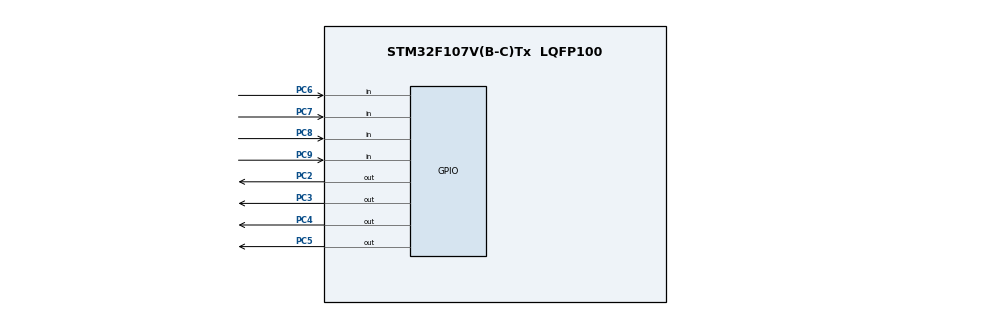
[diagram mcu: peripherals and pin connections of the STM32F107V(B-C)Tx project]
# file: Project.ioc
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Mcu.Family=STM32F1
Mcu.Name=STM32F107V(B-C)Tx
Mcu.Package=LQFP100
NVIC.PriorityGroup=NVIC_PRIORITYGROUP_4
PC2.Signal=GPIO_Output
PC3.Signal=GPIO_Output
PC4.Signal=GPIO_Output
PC5.Signal=GPIO_Output
PC6.Signal=GPIO_Input
PC7.Signal=GPIO_Input
PC8.Signal=GPIO_Input
PC9.Signal=GPIO_Input
ProjectManager.HeapSize=0x200
ProjectManager.StackSize=0x400
ProjectManager.TargetToolchain=MDK-ARM V5
RCC.USBFreq_Value=10666666.666666666
board=Project

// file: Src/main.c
/**
  ******************************************************************************
  * File Name          : main.c
  * Description        : Main program body
  ******************************************************************************
  ** This notice applies to any and all portions of this file
  * that are not between comment pairs USER CODE BEGIN and
  * USER CODE END. Other portions of this file, whether
  * inserted by the user or by software development tools
  * are owned by their respective copyright owners.
  *
  * COPYRIGHT(c) 2017 STMicroelectronics
  *
  * Redistribution and use in source and binary forms, with or without modification,
  * are permitted provided that the following conditions are met:
  *   1. Redistributions of source code must retain the above copyright notice,
  *      this list of conditions and the following disclaimer.
  *   2. Redistributions in binary form must reproduce the above copyright notice,
  *      this list of conditions and the following disclaimer in the documentation
  *      and/or other materials provided with the distribution.
  *   3. Neither the name of STMicroelectronics nor the names of its contributors
  *      may be used to endorse or promote products derived from this software
  *      without specific prior written permission.
  *
  * THIS SOFTWARE IS PROVIDED BY THE COPYRIGHT HOLDERS AND CONTRIBUTORS "AS IS"
  * AND ANY EXPRESS OR IMPLIED WARRANTIES, INCLUDING, BUT NOT LIMITED TO, THE
  * IMPLIED WARRANTIES OF MERCHANTABILITY AND FITNESS FOR A PARTICULAR PURPOSE ARE
  * DISCLAIMED. IN NO EVENT SHALL THE COPYRIGHT HOLDER OR CONTRIBUTORS BE LIABLE
  * FOR ANY DIRECT, INDIRECT, INCIDENTAL, SPECIAL, EXEMPLARY, OR CONSEQUENTIAL
  * DAMAGES (INCLUDING, BUT NOT LIMITED TO, PROCUREMENT OF SUBSTITUTE GOODS OR
  * SERVICES; LOSS OF USE, DATA, OR PROFITS; OR BUSINESS INTERRUPTION) HOWEVER
  * CAUSED AND ON ANY THEORY OF LIABILITY, WHETHER IN CONTRACT, STRICT LIABILITY,
  * OR TORT (INCLUDING NEGLIGENCE OR OTHERWISE) ARISING IN ANY WAY OUT OF THE USE
  * OF THIS SOFTWARE, EVEN IF ADVISED OF THE POSSIBILITY OF SUCH DAMAGE.
  *
  ******************************************************************************
  */
#include "main.h"
#include "stm32f1xx_hal.h"

/* USER CODE BEGIN PV */
/* Private variables ---------------------------------------------------------*/

/* USER CODE END PV */

void SystemClock_Config(void);
static void MX_GPIO_Init(void);

/* USER CODE BEGIN PFP */
/* Private function prototypes -----------------------------------------------*/

/* USER CODE END PFP */

int main(void)
{

  /* MCU Configuration----------------------------------------------------------*/

  /* Reset of all peripherals, Initializes the Flash interface and the Systick. */
  HAL_Init();

  /* Configure the system clock */
  SystemClock_Config();

  /* Initialize all configured peripherals */
  MX_GPIO_Init();

  /* Infinite loop */
  while (1)
  {

  /* USER CODE BEGIN 3 */
		if (HAL_GPIO_ReadPin(GPIOC,GPIO_PIN_6)==0){
			HAL_GPIO_WritePin(GPIOC,GPIO_PIN_2,GPIO_PIN_SET);
		}
		else if (HAL_GPIO_ReadPin(GPIOC,GPIO_PIN_6)==1){
			HAL_GPIO_WritePin(GPIOC,GPIO_PIN_2,GPIO_PIN_RESET);
		}
////////////////////////
		if (HAL_GPIO_ReadPin(GPIOC,GPIO_PIN_7)==0){
			HAL_GPIO_WritePin(GPIOC,GPIO_PIN_3,GPIO_PIN_SET);
		}
		else if (HAL_GPIO_ReadPin(GPIOC,GPIO_PIN_7)==1){
			HAL_GPIO_WritePin(GPIOC,GPIO_PIN_3,GPIO_PIN_RESET);
		}
////////////////////////

		if (HAL_GPIO_ReadPin(GPIOC,GPIO_PIN_8)==0){
			HAL_GPIO_WritePin(GPIOC,GPIO_PIN_4,GPIO_PIN_SET);
		}
		else if (HAL_GPIO_ReadPin(GPIOC,GPIO_PIN_8)==1){
			HAL_GPIO_WritePin(GPIOC,GPIO_PIN_4,GPIO_PIN_RESET);
		}
////////////////////////
		if (HAL_GPIO_ReadPin(GPIOC,GPIO_PIN_9)==0){
			HAL_GPIO_WritePin(GPIOC,GPIO_PIN_5,GPIO_PIN_SET);
		}
		else if (HAL_GPIO_ReadPin(GPIOC,GPIO_PIN_9)==1){
			HAL_GPIO_WritePin(GPIOC,GPIO_PIN_5,GPIO_PIN_RESET);
		}
//		HAL_Delay(500);
  }
  /* USER CODE END 3 */

}

/** System Clock Configuration
*/
void SystemClock_Config(void)
{

  RCC_OscInitTypeDef RCC_OscInitStruct;
  RCC_ClkInitTypeDef RCC_ClkInitStruct;

    /**Initializes the CPU, AHB and APB busses clocks
    */
  RCC_OscInitStruct.OscillatorType = RCC_OSCILLATORTYPE_HSI;
  RCC_OscInitStruct.HSIState = RCC_HSI_ON;
  RCC_OscInitStruct.HSICalibrationValue = 16;
  RCC_OscInitStruct.PLL.PLLState = RCC_PLL_NONE;
  RCC_OscInitStruct.PLL2.PLL2State = RCC_PLL_NONE;
  if (HAL_RCC_OscConfig(&RCC_OscInitStruct) != HAL_OK)
  {
    _Error_Handler(__FILE__, __LINE__);
  }

    /**Initializes the CPU, AHB and APB busses clocks
    */
  RCC_ClkInitStruct.ClockType = RCC_CLOCKTYPE_HCLK|RCC_CLOCKTYPE_SYSCLK
                              |RCC_CLOCKTYPE_PCLK1|RCC_CLOCKTYPE_PCLK2;
  RCC_ClkInitStruct.SYSCLKSource = RCC_SYSCLKSOURCE_HSI;
  RCC_ClkInitStruct.AHBCLKDivider = RCC_SYSCLK_DIV1;
  RCC_ClkInitStruct.APB1CLKDivider = RCC_HCLK_DIV1;
  RCC_ClkInitStruct.APB2CLKDivider = RCC_HCLK_DIV1;

  if (HAL_RCC_ClockConfig(&RCC_ClkInitStruct, FLASH_LATENCY_0) != HAL_OK)
  {
    _Error_Handler(__FILE__, __LINE__);
  }

    /**Configure the Systick interrupt time
    */
  HAL_SYSTICK_Config(HAL_RCC_GetHCLKFreq()/1000);

    /**Configure the Systick
    */
  HAL_SYSTICK_CLKSourceConfig(SYSTICK_CLKSOURCE_HCLK);

    /**Configure the Systick interrupt time
    */
  __HAL_RCC_PLLI2S_ENABLE();

  /* SysTick_IRQn interrupt configuration */
  HAL_NVIC_SetPriority(SysTick_IRQn, 0, 0);
}

/** Configure pins as
        * Analog
        * Input
        * Output
        * EVENT_OUT
        * EXTI
*/
static void MX_GPIO_Init(void)
{

  GPIO_InitTypeDef GPIO_InitStruct;

  /* GPIO Ports Clock Enable */
  __HAL_RCC_GPIOC_CLK_ENABLE();

  /*Configure GPIO pin Output Level */
  HAL_GPIO_WritePin(GPIOC, GPIO_PIN_2|GPIO_PIN_3|GPIO_PIN_4|GPIO_PIN_5, GPIO_PIN_RESET);

  /*Configure GPIO pins : PC2 PC3 PC4 PC5 */
  GPIO_InitStruct.Pin = GPIO_PIN_2|GPIO_PIN_3|GPIO_PIN_4|GPIO_PIN_5;
  GPIO_InitStruct.Mode = GPIO_MODE_OUTPUT_PP;
  GPIO_InitStruct.Speed = GPIO_SPEED_FREQ_LOW;
  HAL_GPIO_Init(GPIOC, &GPIO_InitStruct);

  /*Configure GPIO pins : PC6 PC7 PC8 PC9 */
  GPIO_InitStruct.Pin = GPIO_PIN_6|GPIO_PIN_7|GPIO_PIN_8|GPIO_PIN_9;
  GPIO_InitStruct.Mode = GPIO_MODE_INPUT;
  GPIO_InitStruct.Pull = GPIO_NOPULL;
  HAL_GPIO_Init(GPIOC, &GPIO_InitStruct);

}

void _Error_Handler(char * file, int line)
{
  while(1)
  {
  }
}

/************************ (C) COPYRIGHT STMicroelectronics *****END OF FILE****/
